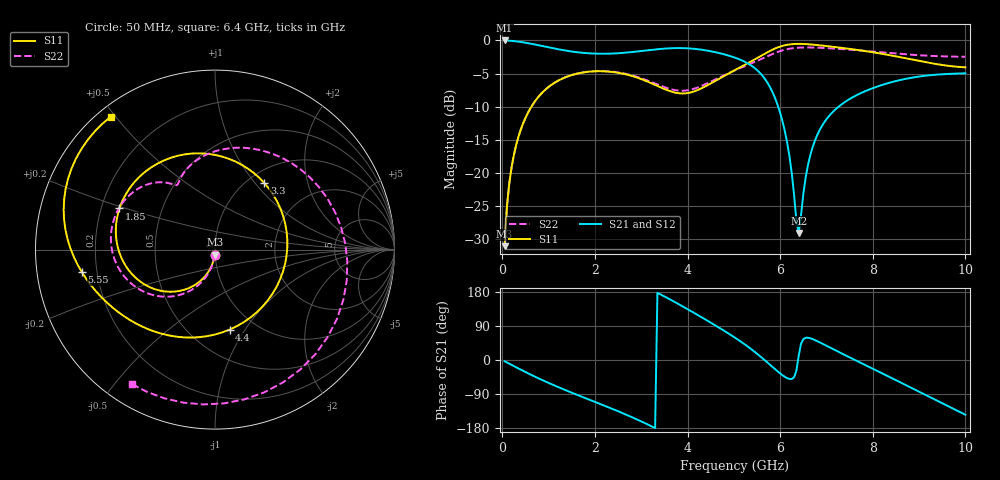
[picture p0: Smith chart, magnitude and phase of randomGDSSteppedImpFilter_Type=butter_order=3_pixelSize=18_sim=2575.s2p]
! freq	dB(S11)	phase(S11)	dB(S12)	phase(S12)
!  dB(S21)	phase(S21)	dB(S22)	phase(S22)
!S-par simulation data
#  GHz  S  DB  R 50
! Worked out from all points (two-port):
!   200 points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, 50 MHz to 10 GHz, reference 50 ohm
!   highest |S21| = -0.01 dB at 50 MHz (marker M1); lowest = -29.0 dB at 6.4 GHz (marker M2)
!   |S21| within 3 dB of the highest: start of sweep to 5.171 GHz
!   lowest |S11| = -31.0 dB at 50 MHz (marker M3), VSWR 1.06, Z = 49.7 - j2.8 ohm
!   |S11| at or under -10 dB: start of sweep to 628.7 MHz
!   |S22| runs from -31.0 to -1.1 dB; largest |S21 - S12| = 0
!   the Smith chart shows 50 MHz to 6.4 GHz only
!   S11 on the Smith chart (normalised r, x): 50 MHz: 0.99, -0.06; 1.85 GHz: 0.28, +0.19; 3.3 GHz: 1.19, +1.12; 4.4 GHz: 0.76, -0.86; 5.55 GHz: 0.14, -0.08; 6.4 GHz: 0.04, +0.49
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0.05  -31.02 -93.6  -0.01 -3.3  -0.01 -3.3  -31.01 -93.1
0.2  -19.15 -104.2  -0.07 -13.0  -0.07 -13.0  -19.15 -102.6
0.5  -11.69 -124.3  -0.35 -31.8  -0.35 -31.8  -11.68 -120.3
1.05  -6.75 -158.3  -1.12 -63.3  -1.12 -63.3  -6.74 -149.3
1.75  -4.83 162.3  -1.88 -98.5  -1.88 -98.5  -4.81 179.8
1.85  -4.74 156.7  -1.94 -103.3  -1.94 -103.3  -4.71 175.8
2.65  -5.09 107.7  -1.86 -142.9  -1.86 -142.9  -5.01 146.2
3.3  -6.71 53.5  -1.37 -179.7  -1.37 -179.7  -6.50 127.6
3.4  -7.02 43.1  -1.30 174.1  -1.30 174.1  -6.78 125.7
3.9  -8.00 -17.9  -1.17 141.1  -1.17 141.1  -7.58 120.3
4.4  -6.88 -79.7  -1.51 105.9  -1.51 105.9  -6.55 110.4
5.05  -4.39 -137.2  -2.67 56.9  -2.67 56.9  -4.43 69.6
5.55  -2.47 -170.4  -4.80 11.7  -4.80 11.7  -2.93 10.0
5.8  -1.52 172.6  -7.30 -14.6  -7.30 -14.6  -2.14 -29.5
6.05  -0.82 154.1  -12.18 -40.1  -12.18 -40.1  -1.50 -71.0
6.4  -0.52 128.2  -29.05 10.5  -29.05 10.5  -1.10 -121.8
6.7  -0.64 107.5  -16.12 55.2  -16.12 55.2  -1.08 -155.1
7.45  -1.23 57.7  -9.05 9.9  -9.05 9.9  -1.37 150.0
7.95  -1.73 22.0  -7.33 -20.0  -7.33 -20.0  -1.65 124.7
8.35  -2.21 -9.4  -6.40 -44.1  -6.40 -44.1  -1.89 107.7
9.2  -3.36 -84.2  -5.28 -95.9  -5.28 -95.9  -2.32 77.3
10  -4.07 -160.4  -4.97 -144.4  -4.97 -144.4  -2.47 52.0
